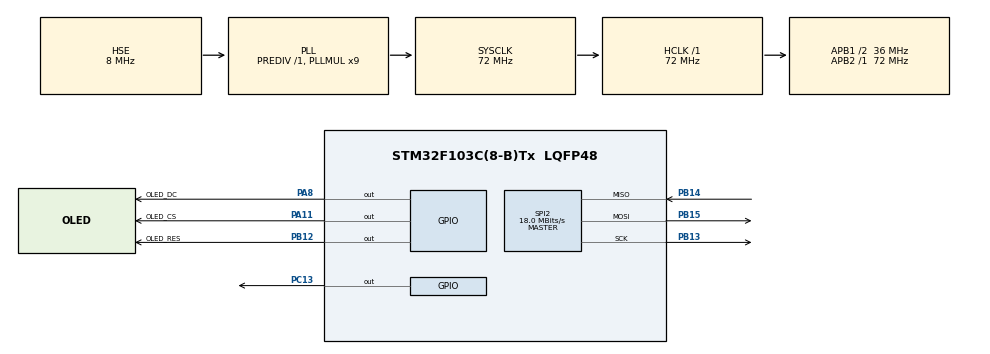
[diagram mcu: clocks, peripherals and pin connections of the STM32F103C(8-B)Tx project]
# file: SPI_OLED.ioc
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Mcu.Family=STM32F1
Mcu.Name=STM32F103C(8-B)Tx
Mcu.Package=LQFP48
NVIC.PriorityGroup=NVIC_PRIORITYGROUP_4
PA11.GPIO_Label=OLED_CS
PA11.Signal=GPIO_Output
PA13.Mode=Serial_Wire
PA13.Signal=SYS_JTMS-SWDIO
PA14.Mode=Serial_Wire
PA14.Signal=SYS_JTCK-SWCLK
PA8.GPIO_Label=OLED_DC
PA8.Signal=GPIO_Output
PB12.GPIO_Label=OLED_RES
PB12.Signal=GPIO_Output
PB13.Mode=Full_Duplex_Master
PB13.Signal=SPI2_SCK
PB14.Mode=Full_Duplex_Master
PB14.Signal=SPI2_MISO
PB15.Mode=Full_Duplex_Master
PB15.Signal=SPI2_MOSI
PC13-TAMPER-RTC.Signal=GPIO_Output
PC14-OSC32_IN.Mode=LSE-External-Oscillator
PC14-OSC32_IN.Signal=RCC_OSC32_IN
PC15-OSC32_OUT.Mode=LSE-External-Oscillator
PC15-OSC32_OUT.Signal=RCC_OSC32_OUT
PD0-OSC_IN.Mode=HSE-External-Oscillator
PD0-OSC_IN.Signal=RCC_OSC_IN
PD1-OSC_OUT.Mode=HSE-External-Oscillator
PD1-OSC_OUT.Signal=RCC_OSC_OUT
ProjectManager.HeapSize=0x200
ProjectManager.StackSize=0x400
ProjectManager.TargetToolchain=MDK-ARM V5.32
RCC.AHBFreq_Value=72000000
RCC.APB1CLKDivider=RCC_HCLK_DIV2
RCC.APB1Freq_Value=36000000
RCC.APB1TimFreq_Value=72000000
RCC.APB2Freq_Value=72000000
RCC.APB2TimFreq_Value=72000000
RCC.HCLKFreq_Value=72000000
RCC.PLLMUL=RCC_PLL_MUL9
RCC.PLLSourceVirtual=RCC_PLLSOURCE_HSE
RCC.SYSCLKFreq_VALUE=72000000
RCC.SYSCLKSource=RCC_SYSCLKSOURCE_PLLCLK
RCC.USBFreq_Value=72000000
SPI2.CalculateBaudRate=18.0 MBits/s
SPI2.Direction=SPI_DIRECTION_2LINES
SPI2.Mode=SPI_MODE_MASTER
SPI2.VirtualType=VM_MASTER
board=custom

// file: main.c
/* USER CODE BEGIN Header */
/**
  ******************************************************************************
  * @file           : main.c
  * @brief          : Main program body
  ******************************************************************************
  * @attention
  *
  * Copyright (c) 2025 STMicroelectronics.
  * All rights reserved.
  *
  * This software is licensed under terms that can be found in the LICENSE file
  * in the root directory of this software component.
  * If no LICENSE file comes with this software, it is provided AS-IS.
  *
  ******************************************************************************
  */
/* USER CODE END Header */
#include "main.h"
#include "spi.h"
#include "gpio.h"

/* USER CODE BEGIN Includes */
#include "oled.h"
/* USER CODE END Includes */

void SystemClock_Config(void);

int main(void)
{

  /* MCU Configuration--------------------------------------------------------*/

  /* Reset of all peripherals, Initializes the Flash interface and the Systick. */
  HAL_Init();

  /* Configure the system clock */
  SystemClock_Config();

  /* Initialize all configured peripherals */
  MX_GPIO_Init();
  MX_SPI2_Init();
  /* USER CODE BEGIN 2 */

  // 初始化OLED
  OLED_Init();
  // 尝试打开显示
  OLED_DisPlay_On();
  OLED_Clear();
  OLED_Refresh();

  // 在OLED上绘制一些测试图形
  // 1. 画横线
  OLED_DrawLine(0, 0, 127, 0, 1);
  OLED_DrawLine(0, 63, 127, 63, 1);
  OLED_Refresh();
  HAL_Delay(100);

  // 2. 画竖线
  OLED_DrawLine(0, 0, 0, 63, 1);
  OLED_DrawLine(127, 0, 127, 63, 1);
  OLED_Refresh();
  HAL_Delay(100);

  // 3. 画对角线
  OLED_DrawLine(0, 0, 127, 63, 1);
  OLED_DrawLine(0, 63, 127, 0, 1);
  OLED_Refresh();
  HAL_Delay(100);

  // 4. 画一个矩形框
  OLED_Clear();
  OLED_DrawLine(10, 10, 117, 10, 1);
  OLED_DrawLine(117, 10, 117, 53, 1);
  OLED_DrawLine(117, 53, 10, 53, 1);
  OLED_DrawLine(10, 53, 10, 10, 1);
  OLED_Refresh();
  HAL_Delay(100);

  // 5. 最后清屏
  OLED_Clear();
  OLED_Refresh();

  /* USER CODE END 2 */

  /* Infinite loop */
  /* USER CODE BEGIN WHILE */
  while (1)
  {
    // 效果1: 跑马灯效果 - 从左到右扫描
    for(int x = 0; x < 128; x++) {
      OLED_Clear();
      OLED_DrawLine(x, 0, x, 63, 1);
      OLED_Refresh();
      HAL_Delay(1);
    }
    HAL_Delay(20);

    // 效果2: 反向跑马灯
    for(int x = 127; x >= 0; x--) {
      OLED_Clear();
      OLED_DrawLine(x, 0, x, 63, 1);
      OLED_Refresh();
      HAL_Delay(1);
    }
    HAL_Delay(20);

    // 效果3: 波浪动画
    for(int frame = 0; frame < 50; frame++) {
      OLED_Clear();
      for(int x = 0; x < 128; x++) {
        int y = 32 + 15 * ((frame / 5 + x / 3) % 20 - 10);
        if(y >= 0 && y < 64) {
          OLED_DrawPoint(x, y, 1);
        }
      }
      OLED_Refresh();
      HAL_Delay(20);
    }

    // 效果4: 同心圆
    for(int r = 1; r < 32; r += 2) {
      OLED_Clear();
      OLED_DrawCircle(64, 32, r);
      OLED_Refresh();
      HAL_Delay(20);
    }
    HAL_Delay(100);

    // 效果5: 填充动画
    for(int y = 0; y < 64; y += 2) {
      OLED_DrawLine(0, y, 127, y, 1);
      OLED_Refresh();
      HAL_Delay(20);
    }
    HAL_Delay(100);

    // 效果6: 清空动画
    for(int y = 63; y >= 0; y -= 2) {
      OLED_DrawLine(0, y, 127, y, 0);
      OLED_Refresh();
      HAL_Delay(30);
    }
    HAL_Delay(100);

    // 效果7: 星爆效果 - 放射线从中心扩散
    for(int len = 1; len < 50; len += 2) {
      OLED_Clear();
      // 8条放射线
      OLED_DrawLine(64, 32, 64, 32 - len, 1);         // 上
      OLED_DrawLine(64, 32, 64, 32 + len, 1);        // 下
      OLED_DrawLine(64, 32, 64 + len, 32, 1);        // 右
      OLED_DrawLine(64, 32, 64 - len, 32, 1);        // 左
      OLED_DrawLine(64, 32, 64 + len * 7/10, 32 - len * 7/10, 1);  // 右上
      OLED_DrawLine(64, 32, 64 + len * 7/10, 32 + len * 7/10, 1); // 右下
      OLED_DrawLine(64, 32, 64 - len * 7/10, 32 - len * 7/10, 1); // 左上
      OLED_DrawLine(64, 32, 64 - len * 7/10, 32 + len * 7/10, 1); // 左下
      OLED_Refresh();
      HAL_Delay(20);
    }
    HAL_Delay(100);

    // 效果8: 渐近线条
//    OLED_Clear();
//    for(int i = 0; i < 20; i++) {
//      OLED_DrawLine(0 + i*6, 0, 127 - i*6, 63, 1);
//      OLED_DrawLine(127 - i*6, 0, 0 + i*6, 63, 1);
//    }
//    OLED_Refresh();
//    HAL_Delay(500);

    // 效果9: 文字显示 - 数字计数
//    OLED_Clear();
//    for(int i = 0; i <= 99; i++) {
//      OLED_ShowNum(40, 24, i, 2, 16, 1);
//      OLED_Refresh();
//      HAL_Delay(50);
//    }

    // 效果10: 文字显示 - 倒计时
//    OLED_Clear();
//    for(int i = 9; i >= 0; i--) {
//      OLED_ShowNum(56, 24, i, 1, 16, 1);
//      OLED_Refresh();
//      HAL_Delay(300);
//    }

    // 效果11: 文字显示 - 英文滚动
//    char text[] = "HELLO STM32! ";
//    for(int offset = 0; offset < 150; offset += 4) {
//      OLED_Clear();
//      for(int i = 0; i < 13; i++) {
//        int x = i * 8 - offset;
//        if(x >= -10 && x < 130) {
//          if(x >= 0 && x < 128) {
//            OLED_ShowChar(x, 28, text[i], 16, 1);
//          }
//        }
//      }
//      OLED_Refresh();
//      HAL_Delay(50);
//    }

    // 效果12: 文字闪烁效果
//    for(int i = 0; i < 10; i++) {
//      OLED_Clear();
//      OLED_ShowString(20, 24, "STM32", 16, 1);
//      OLED_Refresh();
//      HAL_Delay(200);
//      OLED_Clear();
//      OLED_Refresh();
//      HAL_Delay(200);
//    }
    for(int i = 0; i < 10; i++) {
      OLED_Clear();
      OLED_ShowChinese(0,0,0,16,1);//中
      OLED_ShowChinese(18,0,1,16,1);//景
      OLED_ShowChinese(36,0,2,16,1);//园
      OLED_ShowChinese(54,0,3,16,1);//电
      OLED_ShowChinese(72,0,4,16,1);//子
      OLED_ShowChinese(90,0,5,16,1);//技
      OLED_ShowChinese(108,0,11,16,1);//什
      OLED_Refresh();
      HAL_Delay(200);
      OLED_Clear();
      OLED_Refresh();
      HAL_Delay(200);
    }
    // 效果13: 显示ASCII字符
    OLED_Clear();
    for(char c = 'A'; c <= 'Z'; c++) {
      OLED_Clear();
      OLED_ShowChar(56, 24, c, 24, 1);
      OLED_Refresh();
      HAL_Delay(100);
    }
    HAL_Delay(500);

    // LED闪烁
    HAL_GPIO_WritePin(GPIOC, GPIO_PIN_13, GPIO_PIN_SET);  // LED
    HAL_Delay(1000);
    HAL_GPIO_WritePin(GPIOC, GPIO_PIN_13, GPIO_PIN_RESET); // LED
    HAL_Delay(100);
    /* USER CODE END WHILE */

  }
}

void SystemClock_Config(void)
{
  RCC_OscInitTypeDef RCC_OscInitStruct = {0};
  RCC_ClkInitTypeDef RCC_ClkInitStruct = {0};

  /** Initializes the RCC Oscillators according to the specified parameters
  * in the RCC_OscInitTypeDef structure.
  */
  RCC_OscInitStruct.OscillatorType = RCC_OSCILLATORTYPE_HSE;
  RCC_OscInitStruct.HSEState = RCC_HSE_ON;
  RCC_OscInitStruct.HSEPredivValue = RCC_HSE_PREDIV_DIV1;
  RCC_OscInitStruct.HSIState = RCC_HSI_ON;
  RCC_OscInitStruct.PLL.PLLState = RCC_PLL_ON;
  RCC_OscInitStruct.PLL.PLLSource = RCC_PLLSOURCE_HSE;
  RCC_OscInitStruct.PLL.PLLMUL = RCC_PLL_MUL9;
  if (HAL_RCC_OscConfig(&RCC_OscInitStruct) != HAL_OK)
  {
    Error_Handler();
  }

  /** Initializes the CPU, AHB and APB buses clocks
  */
  RCC_ClkInitStruct.ClockType = RCC_CLOCKTYPE_HCLK|RCC_CLOCKTYPE_SYSCLK
                              |RCC_CLOCKTYPE_PCLK1|RCC_CLOCKTYPE_PCLK2;
  RCC_ClkInitStruct.SYSCLKSource = RCC_SYSCLKSOURCE_PLLCLK;
  RCC_ClkInitStruct.AHBCLKDivider = RCC_SYSCLK_DIV1;
  RCC_ClkInitStruct.APB1CLKDivider = RCC_HCLK_DIV2;
  RCC_ClkInitStruct.APB2CLKDivider = RCC_HCLK_DIV1;

  if (HAL_RCC_ClockConfig(&RCC_ClkInitStruct, FLASH_LATENCY_2) != HAL_OK)
  {
    Error_Handler();
  }
}

void Error_Handler(void)
{
  __disable_irq();
  while (1)
  {
  }
}
